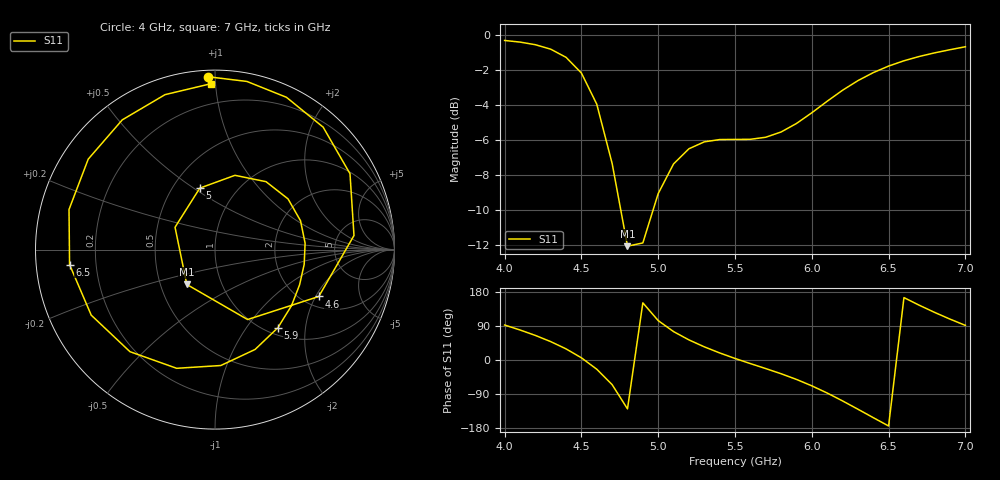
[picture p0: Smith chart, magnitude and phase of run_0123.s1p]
! Touchstone file exported from HFSS 2024.2.0
!  File:  C:/Users/wsak9/Desktop/Sim Fast/Widenad Patch/WP_AI_V1_sweep.aedt
!  Generated:  08:02:29 PM Oct 13, 2026
!  Design:  A1_model
!  Project:  WP_AI_V1_sweep
!  Setup:  Setup1
!  Solution:  Sweep
! Variables:
!  Air_gap = 2.94mm
!  Curve_Amp1 = 0.53
!  Curve_len1 = 1
!  Curve_pos = 11.48mm
!  Extra = 2.48mm
!  H_sub = 0.79mm
!  L_Patch = 18.96mm
!  L_Patch1 = 15.78mm
!  Sx = 1.01mm
!  Sy = 3.14mm
!  WS = 0.54mm
!  W_Patch = 11.69mm
!  W_Patch1 = 13.3mm
!Data is not renormalized
# GHz S MA
! Terminal data exported
! Port[1] = 1
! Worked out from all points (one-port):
!   31 points, 4 GHz to 7 GHz, reference per port
!   lowest |S11| = -12.1 dB at 4.8 GHz (marker M1), VSWR 1.67
!   |S11| at or under -10 dB: 4.757 GHz to 4.966 GHz (209.7 MHz wide, 4.31 % of centre)
!   S11 on the Smith chart (normalised r, x): 4 GHz: 0.04, +0.96; 4.6 GHz: 2.43, -2.12; 5 GHz: 0.68, +0.53; 5.9 GHz: 1.12, -1.42; 6.5 GHz: 0.10, -0.05; 7 GHz: 0.08, +0.97
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4  0.9638 92.3
4.1  0.9536 79.3
4.2  0.9374 64.9
4.3  0.9103 48.6
4.4  0.8629 29.3
4.5  0.7783 5.8
4.6  0.6344 -24.3
4.7  0.4299 -65.0
4.8  0.2497 -129.0
4.9  0.2551 150.8
5  0.3528 103.9
5.1  0.4285 75.0
5.2  0.4733 53.1
5.3  0.4953 34.8
5.5  0.5033 4.1
5.7  0.5105 -22.6
5.9  0.5588 -51.2
6  0.5995 -68.1
6.1  0.6466 -87.1
6.2  0.695 -107.9
6.3  0.7403 -129.8
6.4  0.7803 -152.1
6.5  0.8146 -174.1
6.6  0.8435 164.6
6.7  0.8677 144.5
6.8  0.8885 125.6
6.9  0.9071 107.9
7  0.9248 91.3
